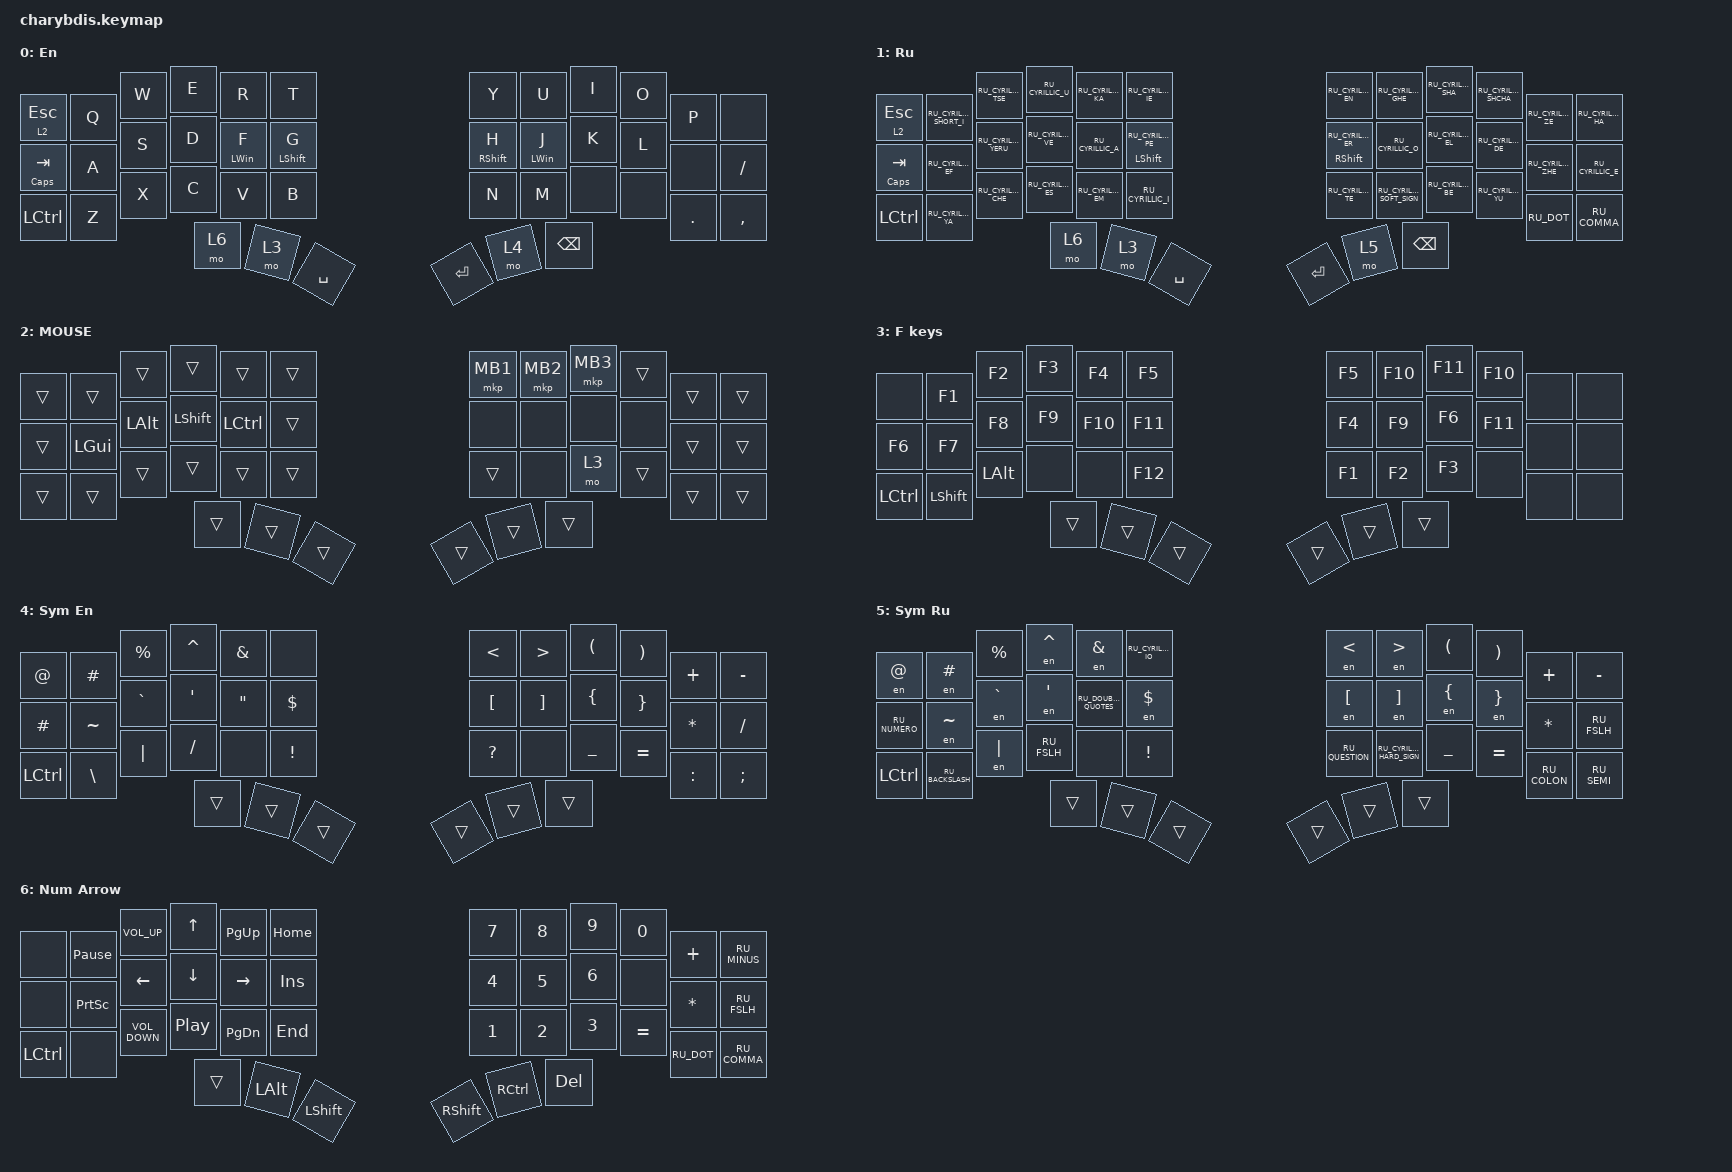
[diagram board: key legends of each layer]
#include "keys_ru.h"
#include <dt-bindings/zmk/input_transform.h>
#include <input/processors.dtsi>
#include <zephyr/dt-bindings/input/input-event-codes.h>
#include <behaviors.dtsi>
#include <dt-bindings/zmk/keys.h>
#include <dt-bindings/zmk/pointing.h>

#define EN 0
#define RU 1
#define MOU 2
#define FK 3
#define SYE 4
#define SYR 5
#define NUM 6

/ {
    behaviors {
        cap_sen: cap_sen {
            compatible = "zmk,behavior-hold-tap";
            label = "CAP_SEN";
            bindings = <&mo>, <&mkp>;

            #binding-cells = <2>;
            tapping-term-ms = <150>;
            hold-while-undecided;
        };

        hml: hml {
            compatible = "zmk,behavior-hold-tap";
            #binding-cells = <2>;
            flavor = "balanced";
            tapping-term-ms = <2000>;
            quick-tap-ms = <175>;
            require-prior-idle-ms = <250>;
            hold-trigger-key-positions = <6 7 8 9 10 11 18 19 20 21 22 23 30 31 32 33 34 35>;
            hold-trigger-on-release;
            bindings = <&kp>, <&kp>;
        };

        hmr: hmr {
            compatible = "zmk,behavior-hold-tap";
            #binding-cells = <2>;
            flavor = "balanced";
            tapping-term-ms = <2000>;
            quick-tap-ms = <175>;
            require-prior-idle-ms = <250>;
            hold-trigger-key-positions = <0 1 2 3 4 5 12 13 14 15 16 17 24 25 26 27 28 29>;
            hold-trigger-on-release;
            bindings = <&kp>, <&kp>;
        };

        hml_s: hml_s {
            compatible = "zmk,behavior-hold-tap";
            #binding-cells = <2>;
            flavor = "balanced";
            tapping-term-ms = <2000>;
            quick-tap-ms = <175>;
            require-prior-idle-ms = <0>;
            hold-trigger-key-positions = <6 7 8 9 10 11 18 19 20 21 22 23 30 31 32 33 34 35>;
            hold-trigger-on-release;
            bindings = <&kp>, <&kp>;
        };

        hmr_s: hmr_s {
            compatible = "zmk,behavior-hold-tap";
            #binding-cells = <2>;
            flavor = "balanced";
            tapping-term-ms = <2000>;
            quick-tap-ms = <175>;
            require-prior-idle-ms = <0>;
            hold-trigger-key-positions = <0 1 2 3 4 5 12 13 14 15 16 17 24 25 26 27 28 29>;
            hold-trigger-on-release;
            bindings = <&kp>, <&kp>;
        };
    };

    combos {
        compatible = "zmk,combos";

        cmben {
            bindings = <&layer_en>;
            key-positions = <4 5>;
            layers = <1>;
        };

        cmbru {
            bindings = <&layer_ru>;
            key-positions = <5 4>;
            layers = <0>;
        };

        LRPar {
            bindings = <&LR_Par>;
            key-positions = <7 8>;
            layers = <4 0 1 5>;
        };

        lr_brc {
            bindings = <&LR_brc>;
            key-positions = <19 20>;
            layers = <0 4>;
        };

        en_Lr_Brc {
            bindings = <&enBrct>;
            key-positions = <20 19>;
            layers = <1 5>;
        };

        lr_brs {
            bindings = <&LR_brs>;
            key-positions = <31 32>;
            layers = <0 4>;
        };

        en_lr_Brs {
            bindings = <&en_LR_brs>;
            key-positions = <31 32>;
            layers = <1 5>;
        };

        lr_DQT {
            bindings = <&LR_DKT>;
            key-positions = <6 7>;
            layers = <0 4>;
        };

        lr_enDQT {
            bindings = <&LR_enDKT>;
            key-positions = <6 7>;
            layers = <1 5>;
        };

        boot_l {
            bindings = <&boot_lo>;
            key-positions = <0 11>;
            layers = <0 1>;
        };

        pss {
            bindings = <&pss>;
            key-positions = <41 35>;
            layers = <0>;
        };

        unl_studio {
            bindings = <&studio_unlock>;
            key-positions = <0 5>;
        };

        Alt_Del {
            bindings = <&kp LA(DEL)>;
            key-positions = <34 35>;
        };
    };

    macros {
        to_ru: to_ru {
            compatible = "zmk,behavior-macro";
            #binding-cells = <0>;
            bindings = <&sk LS(LEFT_CONTROL)>, <&macro_wait_time 300>, <&kp N2>;

            label = "TO_RU";
            wait-ms = <20>;
            tap-ms = <60>;
        };

        to_en: to_en {
            compatible = "zmk,behavior-macro";
            #binding-cells = <0>;
            bindings = <&sk LS(LCTRL)>, <&macro_wait_time 300>, <&kp N1>;

            label = "TO_EN";
            wait-ms = <20>;
            tap-ms = <60>;
        };

        to_ru_fast: to_ru_fast {
            compatible = "zmk,behavior-macro";
            #binding-cells = <0>;
            bindings = <&sk LS(LC(N2))>;
            label = "TO_RU_FAST";
            wait-ms = <20>;
            tap-ms = <60>;
        };

        to_en_fast: to_en_fast {
            compatible = "zmk,behavior-macro";
            #binding-cells = <0>;
            bindings = <&sk LS(RC(N1))>;
            label = "TO_EN_FAST";
            wait-ms = <20>;
            tap-ms = <60>;
        };

        layer_en: layer_en {
            compatible = "zmk,behavior-macro";
            #binding-cells = <0>;
            bindings = <&to_en &to 0>;
            label = "LAYER_EN";
            wait-ms = <0>;
            tap-ms = <60>;
        };

        layer_ru: layer_ru {
            compatible = "zmk,behavior-macro";
            #binding-cells = <0>;
            bindings = <&to_ru &to 1>;
            label = "LAYER_RU";
            tap-ms = <60>;
            wait-ms = <0>;
        };

        en: en {
            compatible = "zmk,behavior-macro-one-param";
            #binding-cells = <1>;
            bindings =
                <&to_en_fast>,
                <&macro_wait_time 5>,
                <&macro_press>,
                <&macro_param_1to1 &kp MACRO_PLACEHOLDER>,
                <&macro_pause_for_release>,
                <&macro_release>,
                <&macro_param_1to1 &kp MACRO_PLACEHOLDER>,
                <&macro_tap>,
                <&to_ru_fast>;

            label = "EN";
            wait-ms = <0>;
            tap-ms = <30>;
        };

        LR_Par: LR_Par {
            compatible = "zmk,behavior-macro";
            #binding-cells = <0>;
            bindings = <&kp LPAR &kp RPAR &kp LEFT_ARROW>;
            label = "LR_PAR";
        };

        LR_brc: LR_brc {
            compatible = "zmk,behavior-macro";
            #binding-cells = <0>;
            bindings = <&kp LBKT &kp RBKT &kp LEFT_ARROW>;
            label = "LR_BRC";
        };

        enBrct: enBrct {
            compatible = "zmk,behavior-macro";
            #binding-cells = <0>;
            bindings = <&to_en &kp LEFT_BRACKET &kp RIGHT_BRACKET &kp LEFT_ARROW &to_ru>;
            label = "ENBRCT";
        };

        LR_brs: LR_brs {
            compatible = "zmk,behavior-macro";
            #binding-cells = <0>;
            bindings = <&kp LEFT_BRACE &kp RIGHT_BRACE &kp LEFT_ARROW>;
            label = "LR_BRS";
        };

        en_LR_brs: en_LR_brs {
            compatible = "zmk,behavior-macro";
            #binding-cells = <0>;
            bindings = <&to_en &kp LEFT_BRACE &kp RIGHT_BRACE &kp LEFT_ARROW &to_ru>;
            label = "EN_LR_BRS";
        };

        LR_DKT: LR_ruDKT {
            compatible = "zmk,behavior-macro";
            #binding-cells = <0>;
            bindings = <&kp DQT &kp DQT &kp LEFT_ARROW>;
            label = "LR_RUDKT";
        };

        LR_enDKT: LR_enDKT {
            compatible = "zmk,behavior-macro";
            #binding-cells = <0>;
            bindings = <&to_en &kp DQT &kp DQT &kp LEFT_ARROW &to_ru>;
            label = "LR_ENDKT";
        };

        boot_lo: bootl {
            compatible = "zmk,behavior-macro";
            #binding-cells = <0>;
            bindings = <&bootloader>;
            label = "BOOTL";
        };

        to_Fkeys: to_Fkeys {
            compatible = "zmk,behavior-macro";
            #binding-cells = <0>;
            bindings = <&tog 2>;
            label = "TO_FKEYS";
        };

        pss: pss {
            compatible = "zmk,behavior-macro";
            #binding-cells = <0>;
            bindings = <&kp LS(R) &kp I &kp Y &kp N2 &kp N1 &kp N4 &kp LS(B) &kp L &kp A &kp U &kp N6 &kp N2 &kp LS(V) &kp V>;
            label = "PSS";
        };

        st_unlock: st_unlock {
            compatible = "zmk,behavior-macro";
            #binding-cells = <0>;
            bindings = <&studio_unlock>;
            label = "ST_UNLOCK";
        };
    };

    keymap {
        compatible = "zmk,keymap";

        en {
            label = "EN";
            display-name = "En";
            bindings = <
&lt 2 ESC         &kp Q  &kp W  &kp E  &kp R        &kp T            &kp Y          &kp U        &kp I          &kp O  &kp P    &none
&mt CAPSLOCK TAB  &kp A  &kp S  &kp D  &hml LWIN F  &hml LSHIFT G    &hmr RSHIFT H  &hmr LWIN J  &kp K          &kp L  &none    &kp SLASH
&kp LCTRL         &kp Z  &kp X  &kp C  &kp V        &kp B            &kp N          &kp M        &none          &none  &kp DOT  &kp COMMA
                                &mo 6  &mo 3        &kp SPACE        &kp ENTER      &mo 4        &kp BACKSPACE
            >;
        };

        ru {
            label = "RU";
            display-name = "Ru";
            bindings = <
&lt 2 ESC         &kp RU_CYRILLIC_SHORT_I  &kp RU_CYRILLIC_TSE   &kp RU_CYRILLIC_U   &kp RU_CYRILLIC_KA  &kp RU_CYRILLIC_IE            &kp RU_CYRILLIC_EN          &kp RU_CYRILLIC_GHE        &kp RU_CYRILLIC_SHA  &kp RU_CYRILLIC_SHCHA  &kp RU_CYRILLIC_ZE   &kp RU_CYRILLIC_HA
&mt CAPSLOCK TAB  &kp RU_CYRILLIC_EF       &kp RU_CYRILLIC_YERU  &kp RU_CYRILLIC_VE  &kp RU_CYRILLIC_A   &hml LSHIFT RU_CYRILLIC_PE    &hmr RSHIFT RU_CYRILLIC_ER  &kp RU_CYRILLIC_O          &kp RU_CYRILLIC_EL   &kp RU_CYRILLIC_DE     &kp RU_CYRILLIC_ZHE  &kp RU_CYRILLIC_E
&kp LCTRL         &kp RU_CYRILLIC_YA       &kp RU_CYRILLIC_CHE   &kp RU_CYRILLIC_ES  &kp RU_CYRILLIC_EM  &kp RU_CYRILLIC_I             &kp RU_CYRILLIC_TE          &kp RU_CYRILLIC_SOFT_SIGN  &kp RU_CYRILLIC_BE   &kp RU_CYRILLIC_YU     &kp RU_DOT           &kp RU_COMMA
                                                                 &mo 6               &mo 3               &kp SPACE                     &kp ENTER                   &mo 5                      &kp BACKSPACE
            >;
        };

        MOU {
            label = "MOU";
            display-name = "MOUSE";
            bindings = <
&trans  &trans    &trans    &trans     &trans     &trans    &mkp MB1  &mkp MB2  &mkp MB3  &trans  &trans  &trans
&trans  &kp LGUI  &kp LALT  &kp LSHFT  &kp LCTRL  &trans    &none     &none     &none     &none   &trans  &trans
&trans  &trans    &trans    &trans     &trans     &trans    &trans    &none     &mo 3     &trans  &trans  &trans
                            &trans     &trans     &trans    &trans    &trans    &trans
            >;
        };

        F_key {
            label = "FK";
            display-name = "F keys";
            bindings = <
&none      &kp F1      &kp F2    &kp F3  &kp F4   &kp F5     &kp F5  &kp F10  &kp F11  &kp F10  &none  &none
&kp F6     &kp F7      &kp F8    &kp F9  &kp F10  &kp F11    &kp F4  &kp F9   &kp F6   &kp F11  &none  &none
&kp LCTRL  &kp LSHIFT  &kp LALT  &none   &none    &kp F12    &kp F1  &kp F2   &kp F3   &none    &none  &none
                                 &trans  &trans   &trans     &trans  &trans   &trans
            >;
        };

        sym_en {
            label = "SYE";
            display-name = "Sym En";
            bindings = <
&kp AT     &kp HASH   &kp PRCNT  &kp CARET  &kp AMPS  &none       &kp LT            &kp GT             &kp LPAR   &kp RPAR   &kp PLUS   &kp MINUS
&kp HASH   &kp TILDE  &kp GRAVE  &kp SQT    &kp DQT   &kp DLLR    &kp LEFT_BRACKET  &kp RIGHT_BRACKET  &kp LBRC   &kp RBRC   &kp ASTRK  &kp FSLH
&kp LCTRL  &kp BSLH   &kp PIPE   &kp FSLH   &none     &kp EXCL    &kp QUESTION      &none              &kp UNDER  &kp EQUAL  &kp COLON  &kp SEMICOLON
                                 &trans     &trans    &trans      &trans            &trans             &trans
            >;
        };

        sym_ru {
            label = "SYR";
            display-name = "Sym Ru";
            bindings = <
&en AT         &en HASH          &kp PRCNT  &en CARET    &en AMPS              &kp RU_CYRILLIC_IO    &en LT            &en GT                     &kp LPAR   &kp RPAR   &kp PLUS      &kp MINUS
&kp RU_NUMERO  &en TILDE         &en GRAVE  &en SQT      &kp RU_DOUBLE_QUOTES  &en DLLR              &en LEFT_BRACKET  &en RIGHT_BRACKET          &en LBRC   &en RBRC   &kp STAR      &kp RU_FSLH
&kp LCTRL      &kp RU_BACKSLASH  &en PIPE   &kp RU_FSLH  &none                 &kp EXCL              &kp RU_QUESTION   &kp RU_CYRILLIC_HARD_SIGN  &kp UNDER  &kp EQUAL  &kp RU_COLON  &kp RU_SEMI
                                            &trans       &trans                &trans                &trans            &trans                     &trans
            >;
        };

        num_arrow {
            label = "NUM";
            display-name = "Num Arrow";
            bindings = <
&none      &kp PAUSE_BREAK  &kp C_VOLUME_UP    &kp UP    &kp PG_UP  &kp HOME      &kp N7        &kp NUMBER_8       &kp N9        &kp N0     &kp PLUS    &kp RU_MINUS
&none      &kp PRINTSCREEN  &kp LEFT           &kp DOWN  &kp RIGHT  &kp INS       &kp NUMBER_4  &kp N5             &kp NUMBER_6  &none      &kp STAR    &kp RU_FSLH
&kp LCTRL  &none            &kp C_VOLUME_DOWN  &kp C_PP  &kp PG_DN  &kp END       &kp N1        &kp N2             &kp N3        &kp EQUAL  &kp RU_DOT  &kp RU_COMMA
                                               &trans    &kp LALT   &kp LSHIFT    &kp RSHIFT    &kp RIGHT_CONTROL  &kp DEL
            >;
        };
    };
};
